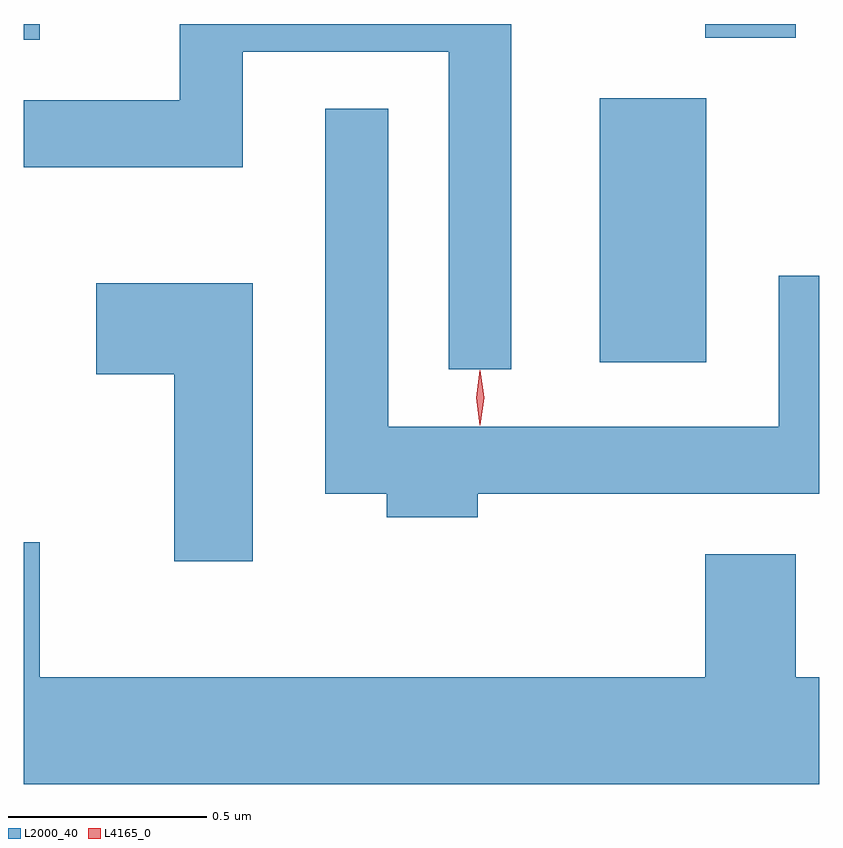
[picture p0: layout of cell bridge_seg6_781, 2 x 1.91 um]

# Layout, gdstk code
import gdstk
lib = gdstk.Library(unit=1e-6, precision=1e-09)
def R(c, l, rs):  # rectangles x0, y0, x1, y1
    for r in rs: c.add(gdstk.rectangle(r[:2], r[2:], *l))
def P(c, l, *ps):  # polygons
    for p in ps: c.add(gdstk.Polygon(p, *l))
L2000_40 = (2000, 40)
L4165_0 = (4165, 0)

bridge_seg6_781 = lib.new_cell('bridge_seg6_781')
R(bridge_seg6_781, L2000_40, [(493.496,1575.516,493.764,1576.179), (492.048,1576.326,492.089,1576.366), (493.761,1576.331,493.989,1576.366)])
P(bridge_seg6_781, L2000_40, [(493.274,1576.366),(492.441,1576.366),(492.441,1576.174),(492.048,1576.174),(492.048,1576.006),(492.599,1576.006),(492.599,1576.296),(493.116,1576.296),(493.116,1575.498),(493.274,1575.498)],
  [(493.189,1575.186),(494.048,1575.186),(494.048,1575.733),(493.946,1575.733),(493.946,1575.354),(492.964,1575.354),(492.964,1576.153),(492.806,1576.153),(492.806,1575.186),(492.961,1575.186),(492.961,1575.126),(493.189,1575.126)],
  [(492.624,1575.714),(492.231,1575.714),(492.231,1575.486),(492.426,1575.486),(492.426,1575.016),(492.624,1575.016)],
  [(494.048,1574.724),(493.989,1574.724),(493.989,1575.034),(493.761,1575.034),(493.761,1574.724),(492.089,1574.724),(492.089,1575.064),(492.048,1575.064),(492.048,1574.456),(494.048,1574.456)])
P(bridge_seg6_781, L4165_0, [(493.196,1575.357),(493.195,1575.358),(493.186,1575.427),(493.195,1575.496),(493.196,1575.496),(493.196,1575.496),(493.206,1575.427),(493.196,1575.358)])

lib.write_gds('bridge_seg6_781.gds')
